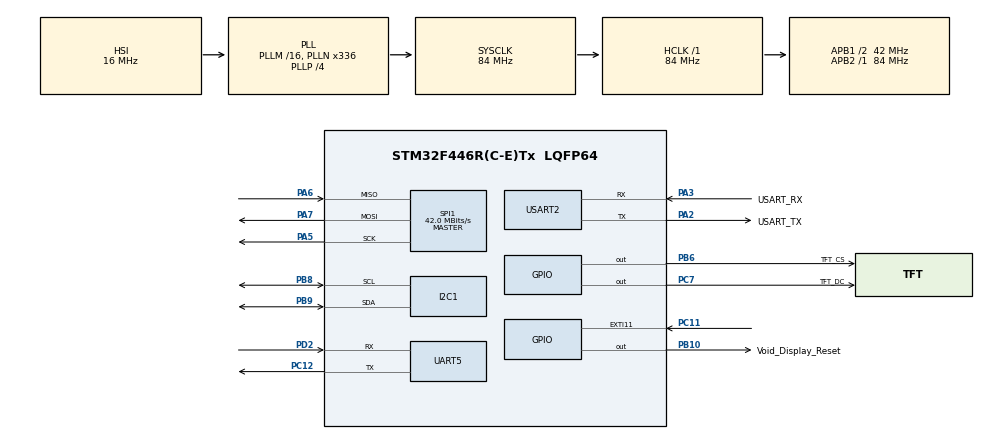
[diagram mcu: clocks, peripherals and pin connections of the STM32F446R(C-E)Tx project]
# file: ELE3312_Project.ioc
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Dma.I2C1_RX.1.Direction=DMA_PERIPH_TO_MEMORY
Dma.I2C1_RX.1.FIFOMode=DMA_FIFOMODE_DISABLE
Dma.I2C1_RX.1.Instance=DMA1_Stream0
Dma.I2C1_RX.1.MemDataAlignment=DMA_MDATAALIGN_BYTE
Dma.I2C1_RX.1.MemInc=DMA_MINC_ENABLE
Dma.I2C1_RX.1.Mode=DMA_NORMAL
Dma.I2C1_RX.1.PeriphDataAlignment=DMA_PDATAALIGN_BYTE
Dma.I2C1_RX.1.PeriphInc=DMA_PINC_DISABLE
Dma.I2C1_RX.1.Priority=DMA_PRIORITY_LOW
Dma.I2C1_TX.2.Direction=DMA_MEMORY_TO_PERIPH
Dma.I2C1_TX.2.FIFOMode=DMA_FIFOMODE_DISABLE
Dma.I2C1_TX.2.Instance=DMA1_Stream6
Dma.I2C1_TX.2.MemDataAlignment=DMA_MDATAALIGN_BYTE
Dma.I2C1_TX.2.MemInc=DMA_MINC_ENABLE
Dma.I2C1_TX.2.Mode=DMA_NORMAL
Dma.I2C1_TX.2.PeriphDataAlignment=DMA_PDATAALIGN_BYTE
Dma.I2C1_TX.2.PeriphInc=DMA_PINC_DISABLE
Dma.I2C1_TX.2.Priority=DMA_PRIORITY_LOW
Dma.Request0=SPI1_TX
Dma.Request1=I2C1_RX
Dma.Request2=I2C1_TX
Dma.Request3=UART5_TX
Dma.SPI1_TX.0.Direction=DMA_MEMORY_TO_PERIPH
Dma.SPI1_TX.0.FIFOMode=DMA_FIFOMODE_DISABLE
Dma.SPI1_TX.0.Instance=DMA2_Stream3
Dma.SPI1_TX.0.MemDataAlignment=DMA_MDATAALIGN_BYTE
Dma.SPI1_TX.0.MemInc=DMA_MINC_ENABLE
Dma.SPI1_TX.0.Mode=DMA_NORMAL
Dma.SPI1_TX.0.PeriphDataAlignment=DMA_PDATAALIGN_BYTE
Dma.SPI1_TX.0.PeriphInc=DMA_PINC_DISABLE
Dma.SPI1_TX.0.Priority=DMA_PRIORITY_LOW
Dma.UART5_TX.3.Direction=DMA_MEMORY_TO_PERIPH
Dma.UART5_TX.3.FIFOMode=DMA_FIFOMODE_DISABLE
Dma.UART5_TX.3.Instance=DMA1_Stream7
Dma.UART5_TX.3.MemDataAlignment=DMA_MDATAALIGN_BYTE
Dma.UART5_TX.3.MemInc=DMA_MINC_ENABLE
Dma.UART5_TX.3.Mode=DMA_NORMAL
Dma.UART5_TX.3.PeriphDataAlignment=DMA_PDATAALIGN_BYTE
Dma.UART5_TX.3.PeriphInc=DMA_PINC_DISABLE
Dma.UART5_TX.3.Priority=DMA_PRIORITY_LOW
I2C1.I2C_Mode=I2C_Fast
Mcu.Family=STM32F4
Mcu.Name=STM32F446R(C-E)Tx
Mcu.Package=LQFP64
NVIC.DMA1_Stream0_IRQn=true\:0\:0\:false\:false\:true\:true\:true\:true
NVIC.DMA1_Stream6_IRQn=true\:0\:0\:false\:false\:true\:false\:true\:true
NVIC.DMA1_Stream7_IRQn=true\:0\:0\:false\:false\:true\:false\:true\:true
NVIC.DMA2_Stream3_IRQn=true\:0\:0\:false\:false\:true\:false\:true\:true
NVIC.EXTI15_10_IRQn=true\:0\:0\:false\:false\:true\:true\:true\:true
NVIC.I2C1_ER_IRQn=true\:0\:0\:false\:false\:true\:true\:true\:true
NVIC.I2C1_EV_IRQn=true\:0\:0\:false\:false\:true\:true\:true\:true
NVIC.PriorityGroup=NVIC_PRIORITYGROUP_0
NVIC.SPI1_IRQn=true\:0\:0\:false\:false\:true\:true\:true\:true
NVIC.TIM8_TRG_COM_TIM14_IRQn=true\:0\:0\:false\:false\:true\:true\:true\:true
NVIC.UART5_IRQn=true\:0\:0\:false\:false\:true\:true\:true\:true
PA13.GPIO_Label=TMS
PA13.Mode=Serial_Wire
PA13.Signal=SYS_JTMS-SWDIO
PA14.GPIO_Label=TCK
PA14.Mode=Serial_Wire
PA14.Signal=SYS_JTCK-SWCLK
PA2.GPIO_Label=USART_TX
PA2.Mode=Asynchronous
PA2.Signal=USART2_TX
PA3.GPIO_Label=USART_RX
PA3.Mode=Asynchronous
PA3.Signal=USART2_RX
PA5.Mode=Full_Duplex_Master
PA5.Signal=SPI1_SCK
PA6.Mode=Full_Duplex_Master
PA6.Signal=SPI1_MISO
PA7.Mode=Full_Duplex_Master
PA7.Signal=SPI1_MOSI
PB10.GPIO_Label=Void_Display_Reset
PB10.Signal=GPIO_Output
PB3.GPIO_Label=SWO
PB3.Signal=SYS_JTDO-SWO
PB6.GPIO_Label=TFT_CS
PB6.Signal=GPIO_Output
PB8.Mode=I2C
PB8.Signal=I2C1_SCL
PB9.Mode=I2C
PB9.Signal=I2C1_SDA
PC11.GPIO_ModeDefaultEXTI=GPIO_MODE_IT_FALLING
PC11.GPIO_PuPd=GPIO_PULLUP
PC11.Signal=GPXTI11
PC12.Mode=Asynchronous
PC12.Signal=UART5_TX
PC14-OSC32_IN.Mode=LSE-External-Oscillator
PC14-OSC32_IN.Signal=RCC_OSC32_IN
PC15-OSC32_OUT.Mode=LSE-External-Oscillator
PC15-OSC32_OUT.Signal=RCC_OSC32_OUT
PC7.GPIO_Label=TFT_DC
PC7.Signal=GPIO_Output
PD2.Mode=Asynchronous
PD2.Signal=UART5_RX
PH0-OSC_IN.Mode=HSE-External-Oscillator
PH0-OSC_IN.Signal=RCC_OSC_IN
PH1-OSC_OUT.Mode=HSE-External-Oscillator
PH1-OSC_OUT.Signal=RCC_OSC_OUT
ProjectManager.HeapSize=0x200
ProjectManager.StackSize=0x400
ProjectManager.TargetToolchain=MDK-ARM V5.32
RCC.48MHZClocksFreq_Value=84000000
RCC.AHBFreq_Value=84000000
RCC.APB1CLKDivider=RCC_HCLK_DIV2
RCC.APB1Freq_Value=42000000
RCC.APB1TimFreq_Value=84000000
RCC.APB2Freq_Value=84000000
RCC.APB2TimFreq_Value=84000000
RCC.CortexFreq_Value=84000000
RCC.FLatency-AdvancedSettings=FLASH_LATENCY_2
RCC.HCLKFreq_Value=84000000
RCC.HSE_VALUE=8000000
RCC.HSI_VALUE=16000000
RCC.PLLN=336
RCC.PLLP=RCC_PLLP_DIV4
RCC.SYSCLKFreq_VALUE=84000000
RCC.SYSCLKSource=RCC_SYSCLKSOURCE_PLLCLK
RCC.USBFreq_Value=168000000
RCC.VCOOutputFreq_Value=336000000
SPI1.CalculateBaudRate=42.0 MBits/s
SPI1.Direction=SPI_DIRECTION_2LINES
SPI1.Mode=SPI_MODE_MASTER
SPI1.VirtualType=VM_MASTER
TIM14.Period=199
TIM14.Prescaler=8399
UART5.VirtualMode=Asynchronous
USART2.VirtualMode=VM_ASYNC
VP_TIM14_VS_ClockSourceINT.Mode=Enable_Timer
board=NUCLEO-F446RE

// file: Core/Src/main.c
/* USER CODE BEGIN Header */
/**
  ******************************************************************************
  * @file           : main.c
  * @brief          : Main program for the ELE3312 project
	* Authors         :
	* Group           :
	*
  ******************************************************************************
	*
  *
  * This file contains the main logic of the game.
  *
  ******************************************************************************
  */
/* USER CODE END Header */
#include "main.h"
#include "dma.h"
#include "i2c.h"
#include "spi.h"
#include "tim.h"
#include "usart.h"
#include "gpio.h"

/* USER CODE BEGIN Includes */
#include "ili9341.h"
#include "ili9341_gfx.h"
#include "stdio.h"
#include "stdlib.h"
#include "math.h"

#include "Graphics.h"
#include "Menu.h"
#include "Game.h"
#include "Battle.h"
#include "stdio.h"
#include "string.h"
/* USER CODE END Includes */

/* USER CODE BEGIN PTD */
typedef enum {
    STATE_IDLE,
    STATE_NEW_TRANSMISSION,
    STATE_RECEIVE
} UART_State;

/* USER CODE END PTD */

/* USER CODE BEGIN PD */
//-----UART-----//
#define UART_BUFFER_SIZE 255
#define START_BYTE 0xFF
//----ACCELERO-----//
#define MPU6050_ADDR 0x68
/* USER CODE END PD */

/* USER CODE BEGIN PV */
ili9341_t *_screen;
player_t players[NUM_PLAYERS] = {0};

UART_State uart_state = STATE_IDLE;
uint8_t rx_byte;
uint8_t rx_data_size=0;
uint8_t buffer[UART_BUFFER_SIZE];
uint16_t buffer_index = 0;

volatile static uint8_t rx_data[UART_BUFFER_SIZE];
volatile static uint8_t rx_size;
volatile static int reception_complete;

volatile static int transmission_complete=1;
uint8_t static tx_buffer[UART_BUFFER_SIZE];
uint8_t static size_tx;

//--ACCELERO--//
uint8_t data_buffer[6];
int scale_factor=16384;
volatile int flag=0;
volatile float accel_x = 0.0f;
volatile float accel_y = 0.0f;
volatile float accel_z = 0.0f;
volatile int flag20=0;

volatile float filtered_accel_x = 0.0f;
volatile float filtered_accel_y = 0.0f;
const float alpha = 0.3f;
/* USER CODE END PV */

void SystemClock_Config(void);

/* USER CODE BEGIN 0 */
// Game.c or main.c

void Check_who_am_i(){
	uint8_t who_am_i=0;
	HAL_StatusTypeDef res;
	uint8_t WHO_AM_I_ADRESS=0x75;

	res=HAL_I2C_Mem_Read(&hi2c1,MPU6050_ADDR<<1,WHO_AM_I_ADRESS,I2C_MEMADD_SIZE_8BIT,&who_am_i,1,HAL_MAX_DELAY);

	if (res==HAL_OK){
		if (who_am_i==0x68){
			printf("MPU-6050 detecte ok \r\n");
		}

		else{
			printf("Erreur: MPU-6050 detecte, mauvaise valeur lue : %i \r\n",who_am_i);
		}
	}

	else{
		printf("Erreur: Impossible de lire le registre WHO_AM_I\r\n ");

	}

}
void Configure_MPU6050() {
    HAL_StatusTypeDef ret;

		uint8_t pwr_mgmt_1_value = 0x80;  // DEVICE_RESET = 1
    ret = HAL_I2C_Mem_Write(&hi2c1, MPU6050_ADDR << 1, 0x6B, I2C_MEMADD_SIZE_8BIT, &pwr_mgmt_1_value, 1, HAL_MAX_DELAY);
    if (ret == HAL_OK) printf("reset ok PWR_MGMT, ret = %d\r\n", ret);

		HAL_Delay(100);  // Attendre le reset

    // PWR_MGMT_1 : Sélection de l'horloge interne
    pwr_mgmt_1_value = 0x00;
    ret = HAL_I2C_Mem_Write(&hi2c1, MPU6050_ADDR << 1, 0x6B, I2C_MEMADD_SIZE_8BIT, &pwr_mgmt_1_value, 1, HAL_MAX_DELAY);
		if (ret != HAL_OK) printf("Erreur de configuration PWR_MGMT_1, ret = %d\r\n", ret);

    // GYRO_CONFIG : FS_SEL = ±250 °/s, désactiver Selftest
    uint8_t gyro_config_value = 0b00000000;
    ret = HAL_I2C_Mem_Write(&hi2c1, MPU6050_ADDR << 1, 0x1B, I2C_MEMADD_SIZE_8BIT, &gyro_config_value, 1, HAL_MAX_DELAY);
    if (ret != HAL_OK) printf("Erreur de configuration GYRO_CONFIG\r\n");

    // ACCEL_CONFIG : AFS_SEL = ±2g, désactiver Selftest
    uint8_t accel_config_value = 0b00000000;
    ret = HAL_I2C_Mem_Write(&hi2c1, MPU6050_ADDR << 1, 0x1C, I2C_MEMADD_SIZE_8BIT, &accel_config_value, 1, HAL_MAX_DELAY);
    if (ret != HAL_OK) printf("Erreur de configuration ACCEL_CONFIG\r\n");

    // CONFIG : Bandwidth = 94 Hz
    uint8_t config_value = 0b00000010;
    ret = HAL_I2C_Mem_Write(&hi2c1, MPU6050_ADDR << 1, 0x1A, I2C_MEMADD_SIZE_8BIT, &config_value, 1, HAL_MAX_DELAY);
    if (ret != HAL_OK) printf("Erreur de configuration CONFIG\r\n");

    // INT_ENABLE : Activer l'interruption DATA_RDY_EN
    uint8_t int_enable_value = 0b00000001;
    ret = HAL_I2C_Mem_Write(&hi2c1, MPU6050_ADDR << 1, 0x38, I2C_MEMADD_SIZE_8BIT, &int_enable_value, 1, HAL_MAX_DELAY);
    if (ret != HAL_OK) printf("Erreur de configuration INT_ENABLE\r\n");

    printf("Configuration du MPU-6050 terminee.\r\n");
}

void HAL_GPIO_EXTI_Callback(uint16_t GPIO_Pin) {
    if (GPIO_Pin == GPIO_PIN_11) {
				flag+=1;
			if (flag-50==0){
				flag=0;
					if (hi2c1.State == HAL_I2C_STATE_READY) {
							if (HAL_I2C_Mem_Read_DMA(&hi2c1, MPU6050_ADDR << 1, 0x3B, I2C_MEMADD_SIZE_8BIT, data_buffer, 6) != HAL_OK) {
									printf("I2C read error!\r\n");
							}
        }
    }
}
}

void HAL_I2C_MemRxCpltCallback(I2C_HandleTypeDef *hi2c) {

    if (hi2c->Instance == I2C1) {

				int16_t raw_accel_x = (data_buffer[0] << 8) | data_buffer[1];
				int16_t raw_accel_y = (data_buffer[2] << 8) | data_buffer[3];
				int16_t raw_accel_z = (data_buffer[4] << 8) | data_buffer[5];

				accel_x=(float)raw_accel_x/scale_factor;
				accel_y=(float)raw_accel_y/scale_factor;
				accel_z=(float)raw_accel_z/scale_factor;
				//printf("x,y,z: %.2f  %.2f  %.2f \r\n",accel_x, accel_y,accel_z);
			}

    }

void print_data(uint8_t *table, int size){

	printf("{");

	for (int i=0; i<size; i++){
		printf("%d, ",table[i]);
	}

	printf("}\r\n");
}

void copy_array(volatile uint8_t *dest, const uint8_t *src, uint8_t size) {

    for (uint8_t i = 0; i < size; i++) {
        dest[i] = src[i];
    }
}

void HAL_UART_RxCpltCallback(UART_HandleTypeDef *huart) {
    if (huart->Instance == UART5) { // Vérifiez que l'interruption provient d'UART5
        switch (uart_state) {

            case STATE_IDLE:
                if (rx_byte == 0xFF) { // Debut d'une nouvelle transmission
                    uart_state = STATE_NEW_TRANSMISSION;
                    buffer_index = 0; // Reinitialise le buffer
                }
                break;

            case STATE_NEW_TRANSMISSION:
                if (rx_byte <= UART_BUFFER_SIZE) {
                    uart_state = STATE_RECEIVE; // Passe de l'etat de reception continue
										rx_data_size=rx_byte;
                } else {
                    uart_state = STATE_IDLE; // le buffer ne peut pas stocker tout l'info
                }
                break;

            case STATE_RECEIVE:
                if (buffer_index < rx_data_size-1) {
                    buffer[buffer_index++] = rx_byte;
                } else {
										buffer[buffer_index++] = rx_byte;
                    uart_state = STATE_IDLE; // toutes les donnees recues
										copy_array(rx_data,buffer,rx_data_size);
										rx_size=rx_data_size;

										reception_complete = 1;
                }

                break;
        }

    }

		// Relancer la reception pour le prochain byte
    HAL_UART_Receive_IT(&huart5, &rx_byte, 1);
}

void HAL_UART_TxCpltCallback(UART_HandleTypeDef *huart) {
    if (huart->Instance == UART5) {
        transmission_complete = 1; // Reinitialise le flag pour autoriser un nouvel envoi
    }
}

void send_data(uint8_t *data, uint8_t size) {
    // V�rifiez que la taille des donn�es est valide
    if (size + 2 > UART_BUFFER_SIZE) {
        return;
    }

		if (!transmission_complete){
			return;
		}

    // Pr�parer le buffer
    tx_buffer[0] = 0xFF;  // Bit de debut
    tx_buffer[1] = size;  // Taille des donn�es
    for (uint8_t i = 0; i < size; i++) {
        tx_buffer[i + 2] = data[i]; // Copiez les donn�es dans le buffer
				//printf("tx_buffer:%d",data[i]);
    }

    // Envoyer les donn�es avec DMA
    HAL_UART_Transmit_DMA(&huart5, tx_buffer, size + 2);
}
void send_position(player_t* player){

			uint8_t data[4];

			data[0] = (uint8_t)(player->current_pos.x & 0xFF);
			data[1] = (uint8_t)((player->current_pos.x >> 8) & 0xFF);

			data[2] = (uint8_t)(player->current_pos.y & 0xFF);
			data[3] = (uint8_t)((player->current_pos.y >> 8) & 0xFF);

			//print_data(data,sizeof(data));
			send_data(data, 4);

}
void get_position(const volatile uint8_t *data, position_t *pos, int *status) {
    if (data == NULL || pos == NULL) {
        *status = 0; // Indicate failure
        return;
    }

    // Decode the position into the provided position_t struct
    pos->x = (int16_t)(data[0] | (data[1] << 8));
    pos->y = (int16_t)(data[2] | (data[3] << 8));

    *status = 1; // Indicate success
}

int main(void)
{

  /* MCU Configuration--------------------------------------------------------*/

  /* Reset of all peripherals, Initializes the Flash interface and the Systick. */
  HAL_Init();
	HAL_Delay(500);
  /* USER CODE BEGIN Init */
	/* Default players setting */
	volatile  game_state_t game_state = CHOOSE_PLAYER;

  /* USER CODE END Init */

  /* Configure the system clock */
  SystemClock_Config();

  /* Initialize all configured peripherals */
  MX_GPIO_Init();
  MX_DMA_Init();
  MX_SPI1_Init();
  MX_USART2_UART_Init();
  MX_I2C1_Init();
  MX_UART5_Init();
  MX_TIM14_Init();

	HAL_UART_Receive_IT(&huart5, &rx_byte, 1);
	HAL_TIM_Base_Start_IT(&htim14);
  /* USER CODE BEGIN 2 */
	Check_who_am_i();
	Configure_MPU6050();
	HAL_Delay(500);
	// Initialize the screen
	_screen = ili9341_new(
		  &hspi1,
		  Void_Display_Reset_GPIO_Port, Void_Display_Reset_Pin,
		  TFT_CS_GPIO_Port, TFT_CS_Pin,
		  TFT_DC_GPIO_Port, TFT_DC_Pin,
		  isoLandscapeFlip,
		  NULL, NULL,
		  NULL, NULL,
		  itsNotSupported,
		  itnNormalized);
	char text[40];
	ili9341_text_attr_t text_attr = {&ili9341_font_11x18,  ILI9341_WHITE, ILI9341_BLACK, 10, 0};
	ili9341_fill_screen(_screen, ILI9341_BLACK);

  /* USER CODE END 2 */

  /* Infinite loop */
  /* USER CODE BEGIN WHILE */
	player_t* player = &players[LOCAL_PLAYER_ID];
	player_t* enemy = &players[ENEMY_PLAYER_ID];

	 int16_t x = 0, y = 0;

	/* Infinite loop */

  while (1)
  {

		if (flag20==1){

			switch(game_state) {
			case CHOOSE_PLAYER:
				choosePlayer(_screen, players);
				game_state = INIT_MAZE;
				flag20=0;
				break;

			case INIT_MAZE:

				player->current_pos = player->start_pos;
				enemy->current_pos = enemy->start_pos;

				drawMaze(_screen, players);
				game_state = WANDER_MAZE;
				flag20=0;
				break;

			case WANDER_MAZE:
				position_t enemy_pos;
				int status;

// Assume `data` is a valid pointer to the volatile uint8_t array

				get_position(rx_data, &enemy_pos, &status);
				if (updatePosition(_screen, enemy_pos, enemy)){
					drawRemotePlayer(_screen,enemy);
				}

				float accel_x_copy = accel_x;
				float accel_y_copy = accel_y;

				filtered_accel_x = alpha * accel_x_copy + (1 - alpha) * filtered_accel_x;
				filtered_accel_y = alpha * accel_y_copy + (1 - alpha) * filtered_accel_y;
				float threshold = 0.005f;
				float sensitivity = 5.0f;
				float max_speed = 3.0f;

				x = player->current_pos.x;
				y = player->current_pos.y;

				float delta_x = 0.0f;
				float delta_y = 0.0f;

				if (filtered_accel_x > threshold) {
						delta_x = (filtered_accel_x - threshold) * sensitivity;
				} else if (filtered_accel_x < -threshold) {
						delta_x = (filtered_accel_x + threshold) * sensitivity;
				}
				if (delta_x > max_speed) {
						delta_x = max_speed;
				} else if (delta_x < -max_speed) {
						delta_x = -max_speed;
				}
				x -= delta_x;
				if (filtered_accel_y > threshold) {
						delta_y = -(filtered_accel_y - threshold) * sensitivity; // Adjust sign based on coordinate system
				} else if (filtered_accel_y < -threshold) {
						delta_y = -(filtered_accel_y + threshold) * sensitivity;
				}
				if (delta_y > max_speed) {
						delta_y = max_speed;
				} else if (delta_y < -max_speed) {
						delta_y = -max_speed;
				}
				y -= delta_y;

				send_position(player);

				//receive_position(enemy);
				/*if (receive_position(enemy)==1){
				DrawRemotePlayer(_screen,enemy);

				}
				*/

				if(updatePosition(_screen, (position_t){x, y}, player)){
					game_state = BATTLE;
					flag20=0;
					continue;
				}
				flag20=0;
				break;
			case BATTLE:
				battle(_screen, players);
				game_state = INIT_MAZE;
				flag20=0;
				break;
		}
	}
  }
  /* USER CODE END 3 */
}

void SystemClock_Config(void)
{
  RCC_OscInitTypeDef RCC_OscInitStruct = {0};
  RCC_ClkInitTypeDef RCC_ClkInitStruct = {0};

  /** Configure the main internal regulator output voltage
  */
  __HAL_RCC_PWR_CLK_ENABLE();
  __HAL_PWR_VOLTAGESCALING_CONFIG(PWR_REGULATOR_VOLTAGE_SCALE3);

  /** Initializes the RCC Oscillators according to the specified parameters
  * in the RCC_OscInitTypeDef structure.
  */
  RCC_OscInitStruct.OscillatorType = RCC_OSCILLATORTYPE_HSI;
  RCC_OscInitStruct.HSIState = RCC_HSI_ON;
  RCC_OscInitStruct.HSICalibrationValue = RCC_HSICALIBRATION_DEFAULT;
  RCC_OscInitStruct.PLL.PLLState = RCC_PLL_ON;
  RCC_OscInitStruct.PLL.PLLSource = RCC_PLLSOURCE_HSI;
  RCC_OscInitStruct.PLL.PLLM = 16;
  RCC_OscInitStruct.PLL.PLLN = 336;
  RCC_OscInitStruct.PLL.PLLP = RCC_PLLP_DIV4;
  RCC_OscInitStruct.PLL.PLLQ = 2;
  RCC_OscInitStruct.PLL.PLLR = 2;
  if (HAL_RCC_OscConfig(&RCC_OscInitStruct) != HAL_OK)
  {
    Error_Handler();
  }

  /** Initializes the CPU, AHB and APB buses clocks
  */
  RCC_ClkInitStruct.ClockType = RCC_CLOCKTYPE_HCLK|RCC_CLOCKTYPE_SYSCLK
                              |RCC_CLOCKTYPE_PCLK1|RCC_CLOCKTYPE_PCLK2;
  RCC_ClkInitStruct.SYSCLKSource = RCC_SYSCLKSOURCE_PLLCLK;
  RCC_ClkInitStruct.AHBCLKDivider = RCC_SYSCLK_DIV1;
  RCC_ClkInitStruct.APB1CLKDivider = RCC_HCLK_DIV2;
  RCC_ClkInitStruct.APB2CLKDivider = RCC_HCLK_DIV1;

  if (HAL_RCC_ClockConfig(&RCC_ClkInitStruct, FLASH_LATENCY_2) != HAL_OK)
  {
    Error_Handler();
  }
}

/* USER CODE BEGIN 4 */
int fputc(int ch, FILE *f)
{
  HAL_UART_Transmit(&huart2, (uint8_t *)&ch, 1, HAL_MAX_DELAY);
  return ch;
}

void HAL_TIM_PeriodElapsedCallback(TIM_HandleTypeDef *htim)
{
    if (htim->Instance == TIM14)
    {
        flag20=1;
    }
}

/* USER CODE END 4 */

void Error_Handler(void)
{
  __disable_irq();
  while (1)
  {
  }
}
